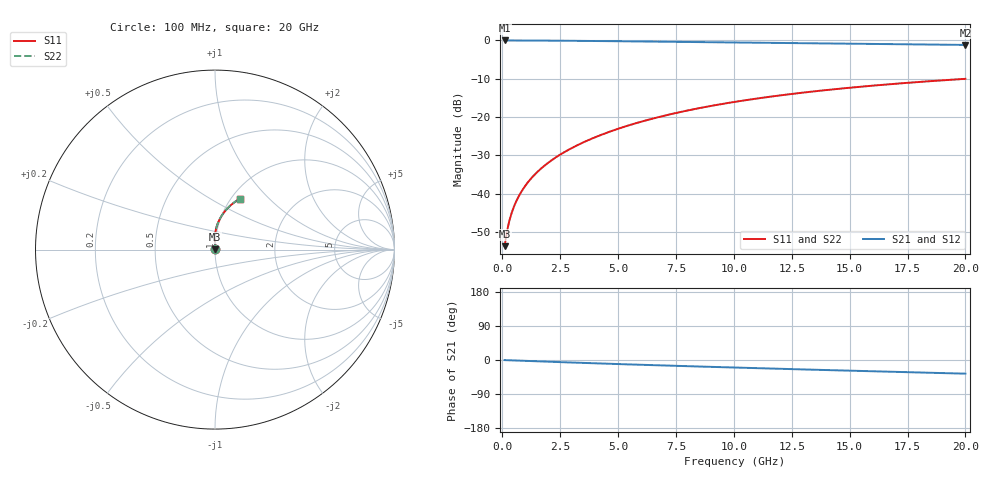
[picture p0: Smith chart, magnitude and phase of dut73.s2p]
! Touchstone file exported from HFSS 2024.1.0
!  File:  C:/UserFiles/LocalFiles/RDL_TSV_Batchsim/temp_RDL_top_73_1778682181.aedt
!  Generated:  10:25:05 PM May 13, 2026
!  Design:  RDL_top
!  Project:  temp_RDL_top_73_1778682181
!  Setup:  Setup1
!  Solution:  Sweep
! Variables:
!  dtsv = 10.80580581um
!  hbump = 3um
!  htsv = 60.6um
!  ldown = 100um
!  lrdl = 513.19um
!  p = 40
!  p1 = 58.02um
!  rhole = 1um
!  t = 450um
!  tdown = 3.915915916um
!  trdl = 4.95um
!  wdown = 15.38538539um
!  wrdl = 27.71um
# GHz S MA R 50.000000
! Terminal data exported
! Port[1] = Box2_T1
! Port[2] = Box2_T2
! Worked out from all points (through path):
!   200 points, 100 MHz to 20 GHz, reference 50 ohm
!   highest |S21| = -0.01 dB at 100 MHz (marker M1); lowest = -1.2 dB at 20 GHz (marker M2)
!   group delay of S21, straight-line fit = 4.92 ps
!   lowest |S11| = -53.6 dB at 100 MHz (marker M3), VSWR 1.00, Z = 50.2 + j0.142 ohm
!   |S11| at or under -10 dB: start of sweep to end of sweep
!   |S22| runs from -53.6 to -10.0 dB; largest |S21 - S12| = 4.2e-15
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0.1  0.00208 42.9  0.9985 -0.2  0.9985 -0.2  0.00208 42.9
! Gamma 0 0 0 0
! Port Impedance 50 0 50 0
0.2  0.003211 59.6  0.9983 -0.5  0.9983 -0.5  0.003211 59.6
0.3  0.004408 66.9  0.9981 -0.7  0.9981 -0.7  0.004407 66.9
0.4  0.005598 71.3  0.998 -0.9  0.998 -0.9  0.005598 71.3
0.5  0.006785 74.3  0.9978 -1.2  0.9978 -1.2  0.006785 74.3
0.6  0.007976 76.6  0.9976 -1.4  0.9976 -1.4  0.007976 76.6
0.8  0.01038 79.9  0.9973 -1.8  0.9973 -1.8  0.01038 79.9
1.1  0.01407 83.1  0.9966 -2.5  0.9966 -2.5  0.01407 83.1
1.5  0.01913 85.8  0.9954 -3.4  0.9954 -3.4  0.01913 85.8
2.1  0.027 88.1  0.9931 -4.7  0.9931 -4.7  0.02701 88.1
2.7  0.03526 89.5  0.9902 -6.0  0.9902 -6.0  0.03527 89.5
3.5  0.0469 90.4  0.9856 -7.7  0.9856 -7.7  0.0469 90.5
4.2  0.05763 90.6  0.9811 -9.1  0.9811 -9.1  0.05765 90.7
5  0.07047 90.4  0.9756 -10.7  0.9756 -10.7  0.07049 90.4
5.9  0.08551 89.6  0.9692 -12.5  0.9692 -12.5  0.08554 89.6
6.8  0.101 88.4  0.9628 -14.1  0.9628 -14.1  0.101 88.4
8.4  0.1291 85.8  0.9514 -17.0  0.9514 -17.0  0.1292 85.8
10.1  0.1591 82.6  0.9396 -20.0  0.9396 -20.0  0.1592 82.6
11.7  0.1869 79.4  0.9287 -22.7  0.9287 -22.7  0.187 79.5
13.4  0.2156 76.1  0.9173 -25.6  0.9173 -25.6  0.2157 76.1
16.7  0.268 69.8  0.8952 -30.9  0.8952 -30.9  0.2681 69.8
20  0.3156 63.8  0.8731 -36.0  0.8731 -36.0  0.3158 63.9
